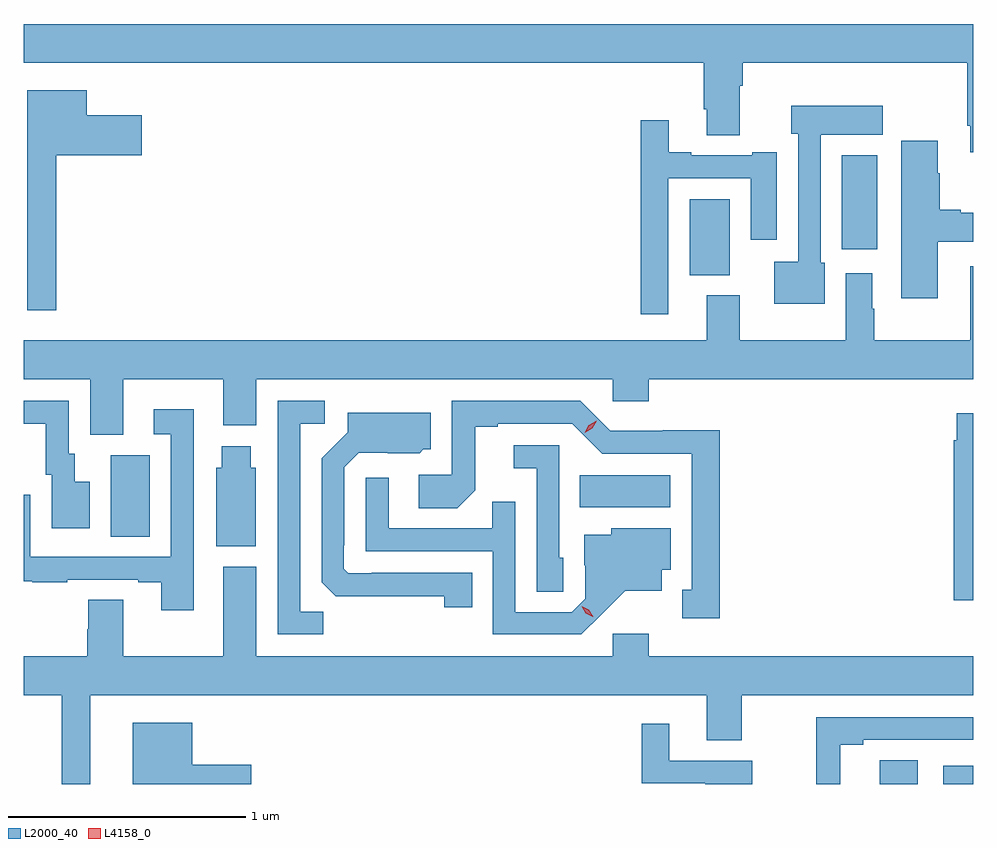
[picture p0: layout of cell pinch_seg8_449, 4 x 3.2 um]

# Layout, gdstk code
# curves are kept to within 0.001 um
import gdstk
lib = gdstk.Library(unit=1e-6, precision=1e-09)
def R(c, l, rs):  # rectangles x0, y0, x1, y1
    for r in rs: c.add(gdstk.rectangle(r[:2], r[2:], *l))
def P(c, l, *ps):  # polygons
    for p in ps: c.add(gdstk.Polygon(p, *l))
L2000_40 = (2000, 40)
L4158_0 = (4158, 0)

pinch_seg8_449 = lib.new_cell('pinch_seg8_449')
R(pinch_seg8_449, L2000_40, [(232.539,1140.102,232.698,1140.203), (232.805,1140.102,232.932,1140.178), (229.298,1141.144,229.462,1141.488), (231.274,1141.268,231.655,1141.402), (231.737,1142.246,231.907,1142.566), (232.379,1142.355,232.528,1142.752)])
P(pinch_seg8_449, L2000_40, [(232.932,1143.304),(228.932,1143.304),(228.932,1143.14),(231.797,1143.14),(231.797,1142.944),(231.809,1142.944),(231.809,1142.836),(231.949,1142.836),(231.949,1143.044),(231.962,1143.044),(231.962,1143.14),(232.907,1143.14),(232.907,1142.875),(232.919,1142.875),(232.919,1142.763),(232.932,1142.763)],
  [(229.069,1142.75),(229.429,1142.75),(229.429,1142.92),(229.198,1142.92),(229.198,1143.025),(228.947,1143.025),(228.947,1142.097),(229.069,1142.097)],
  [(232.306,1142.298),(232.29,1142.298),(232.29,1142.837),(232.551,1142.837),(232.551,1142.959),(232.166,1142.959),(232.166,1142.841),(232.194,1142.841),(232.194,1142.302),(232.094,1142.302),(232.094,1142.126),(232.306,1142.126)],
  [(231.648,1142.655),(231.995,1142.655),(231.995,1142.394),(232.105,1142.394),(232.105,1142.764),(232.001,1142.764),(232.001,1142.751),(231.745,1142.751),(231.745,1142.764),(231.649,1142.764),(231.649,1142.899),(231.532,1142.899),(231.532,1142.082),(231.648,1142.082)],
  [(232.783,1142.387),(232.932,1142.387),(232.932,1142.509),(232.879,1142.509),(232.879,1142.522),(232.791,1142.522),(232.791,1142.675),(232.783,1142.675),(232.783,1142.812),(232.628,1142.812),(232.628,1142.148),(232.783,1142.148)],
  [(229.351,1141.808),(229.772,1141.808),(229.772,1141.614),(229.912,1141.614),(229.912,1141.808),(231.414,1141.808),(231.414,1141.715),(231.566,1141.715),(231.566,1141.808),(232.932,1141.808),(232.932,1142.284),(232.919,1142.284),(232.919,1141.972),(232.515,1141.972),(232.515,1142.105),(232.507,1142.105),(232.507,1142.254),(232.394,1142.254),(232.394,1141.972),(231.949,1141.972),(231.949,1142.161),(231.809,1142.161),(231.809,1141.972),(228.932,1141.972),(228.932,1141.808),(229.211,1141.808),(229.211,1141.573),(229.351,1141.573)],
  [(231.865,1141.592),(231.624,1141.592),(231.624,1141.59),(231.402,1141.59),(231.276,1141.716),(230.736,1141.716),(230.736,1141.404),(230.595,1141.404),(230.595,1141.264),(230.759,1141.264),(230.835,1141.34),(230.835,1141.608),(230.929,1141.608),(230.929,1141.62),(231.243,1141.62),(231.369,1141.494),(231.746,1141.494),(231.746,1140.921),(231.707,1140.921),(231.707,1140.801),(231.865,1140.801)],
  [(229.21,1141.375),(229.147,1141.375),(229.147,1141.494),(229.122,1141.494),(229.122,1141.716),(228.932,1141.716),(228.932,1141.62),(229.025,1141.62),(229.025,1141.404),(229.049,1141.404),(229.049,1141.179),(229.21,1141.179)],
  [(230.193,1140.827),(230.097,1140.827),(230.097,1141.62),(230.2,1141.62),(230.2,1141.716),(230.001,1141.716),(230.001,1140.732),(230.193,1140.732)],
  [(229.647,1141.681),(229.479,1141.681),(229.479,1141.575),(229.551,1141.575),(229.551,1141.059),(228.96,1141.059),(228.96,1141.321),(228.932,1141.321),(228.932,1140.957),(228.967,1140.957),(228.967,1140.951),(229.115,1140.951),(229.115,1140.963),(229.415,1140.963),(229.415,1140.951),(229.511,1140.951),(229.511,1140.834),(229.647,1140.834)],
  [(230.822,1140.993),(230.398,1140.993),(230.398,1140.99),(230.298,1140.99),(230.28,1141.008),(230.28,1141.108),(230.283,1141.108),(230.283,1141.437),(230.343,1141.497),(230.6,1141.496),(230.616,1141.512),(230.647,1141.512),(230.647,1141.666),(230.297,1141.666),(230.297,1141.584),(230.187,1141.474),(230.187,1140.952),(230.246,1140.893),(230.704,1140.892),(230.704,1140.846),(230.822,1140.846)],
  [(232.932,1141.663),(232.862,1141.663),(232.862,1141.55),(232.85,1141.55),(232.85,1140.876),(232.932,1140.876)],
  [(231.204,1141.056),(231.189,1141.056),(231.189,1141.53),(230.997,1141.53),(230.997,1141.433),(231.093,1141.433),(231.093,1140.913),(231.204,1140.913)],
  [(229.909,1141.434),(229.888,1141.434),(229.888,1141.525),(229.766,1141.525),(229.766,1141.434),(229.742,1141.434),(229.742,1141.103),(229.909,1141.103)],
  [(231.364,1140.815),(231.467,1140.917),(231.619,1140.917),(231.619,1141.004),(231.658,1141.004),(231.658,1141.18),(231.408,1141.18),(231.408,1141.153),(231.293,1141.153),(231.293,1141.024),(231.297,1141.024),(231.297,1140.882),(231.24,1140.825),(231.003,1140.825),(231.003,1141.292),(230.905,1141.292),(230.905,1141.179),(230.469,1141.179),(230.469,1141.393),(230.373,1141.393),(230.373,1141.083),(230.907,1141.083),(230.907,1140.732),(231.28,1140.732)],
  [(229.213,1140.476),(231.809,1140.476),(231.809,1140.286),(231.957,1140.286),(231.957,1140.476),(232.932,1140.476),(232.932,1140.64),(231.566,1140.64),(231.566,1140.736),(231.414,1140.736),(231.414,1140.64),(229.912,1140.64),(229.912,1141.018),(229.772,1141.018),(229.772,1140.64),(229.351,1140.64),(229.351,1140.878),(229.204,1140.878),(229.204,1140.753),(229.199,1140.753),(229.199,1140.64),(228.932,1140.64),(228.932,1140.476),(229.092,1140.476),(229.092,1140.102),(229.213,1140.102)],
  [(232.372,1140.268),(232.468,1140.268),(232.468,1140.288),(232.932,1140.288),(232.932,1140.384),(232.27,1140.384),(232.27,1140.102),(232.372,1140.102)],
  [(229.891,1140.183),(229.642,1140.183),(229.642,1140.361),(229.391,1140.361),(229.391,1140.102),(229.891,1140.102)],
  [(232.001,1140.201),(231.652,1140.201),(231.652,1140.355),(231.535,1140.355),(231.535,1140.105),(231.803,1140.105),(231.803,1140.102),(232.001,1140.102)])
P(pinch_seg8_449, L4158_0, [(231.295,1141.581),(231.295,1141.581),(231.313,1141.614),(231.345,1141.632),(231.346,1141.632),(231.346,1141.632),(231.327,1141.6),(231.295,1141.581)],
  [(231.33,1140.806),(231.3,1140.822),(231.282,1140.851),(231.282,1140.851),(231.283,1140.851),(231.313,1140.836),(231.331,1140.806),(231.331,1140.806)])

lib.write_gds('pinch_seg8_449.gds')
